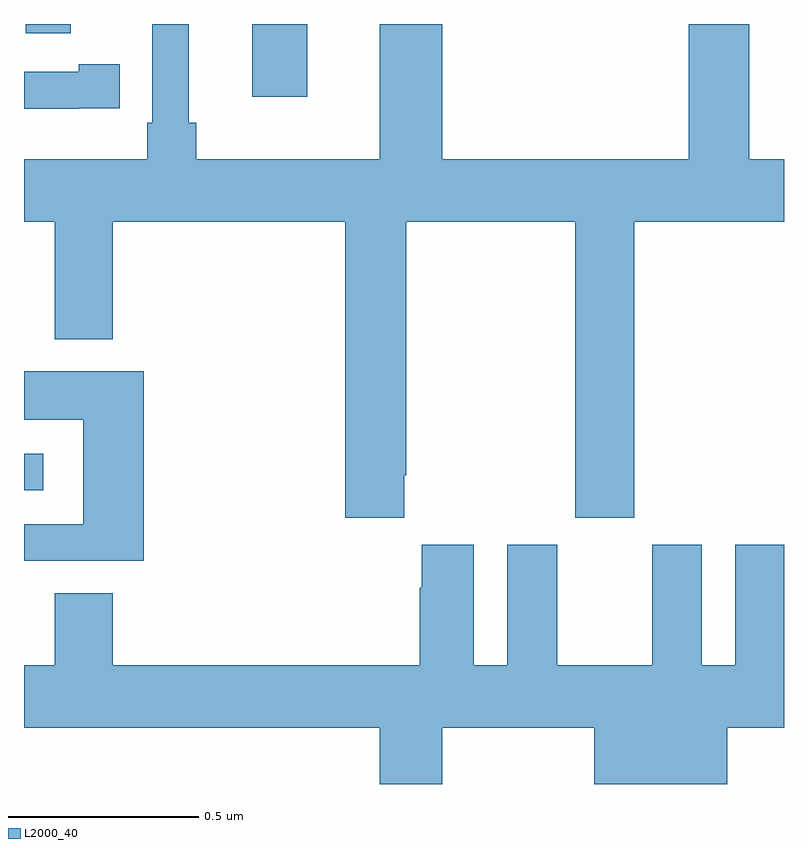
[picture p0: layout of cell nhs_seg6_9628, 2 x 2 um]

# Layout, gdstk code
import gdstk
lib = gdstk.Library(unit=1e-6, precision=1e-09)
def R(c, l, rs):  # rectangles x0, y0, x1, y1
    for r in rs: c.add(gdstk.rectangle(r[:2], r[2:], *l))
def P(c, l, *ps):  # polygons
    for p in ps: c.add(gdstk.Polygon(p, *l))
L2000_40 = (2000, 40)

nhs_seg6_9628 = lib.new_cell('nhs_seg6_9628')
R(nhs_seg6_9628, L2000_40, [(236,969.273,236.05,969.369), (236.6,970.308,236.746,970.5), (236.005,970.476,236.123,970.5)])
P(nhs_seg6_9628, L2000_40, [(236.846,969.201),(237.001,969.201),(237.001,969.313),(237.006,969.313),(237.006,969.98),(237.451,969.98),(237.451,969.201),(237.606,969.201),(237.606,969.98),(238,969.98),(238,970.144),(237.909,970.144),(237.909,970.5),(237.749,970.5),(237.749,970.144),(237.1,970.144),(237.1,970.5),(236.936,970.5),(236.936,970.144),(236.453,970.144),(236.453,970.24),(236.434,970.24),(236.434,970.5),(236.337,970.5),(236.337,970.24),(236.324,970.24),(236.324,970.144),(236,970.144),(236,969.98),(236.081,969.98),(236.081,969.671),(236.234,969.671),(236.234,969.98),(236.846,969.98)],
  [(236.144,970.278),(236.252,970.278),(236.252,970.394),(236.144,970.394),(236.144,970.374),(236,970.374),(236,970.277),(236.144,970.277)],
  [(236.315,969.586),(236,969.586),(236,969.458),(236.156,969.458),(236.156,969.183),(236,969.183),(236,969.087),(236.315,969.087)],
  [(237.1,968.648),(237.5,968.648),(237.5,968.5),(237.85,968.5),(237.85,968.648),(238,968.648),(238,969.13),(237.872,969.13),(237.872,968.812),(237.784,968.812),(237.784,969.13),(237.653,969.13),(237.653,968.812),(237.403,968.812),(237.403,969.13),(237.272,969.13),(237.272,968.812),(237.184,968.812),(237.184,969.13),(237.047,969.13),(237.047,969.017),(237.041,969.017),(237.041,968.812),(236.234,968.812),(236.234,969.002),(236.081,969.002),(236.081,968.812),(236,968.812),(236,968.648),(236.936,968.648),(236.936,968.5),(237.1,968.5)])

lib.write_gds('nhs_seg6_9628.gds')
